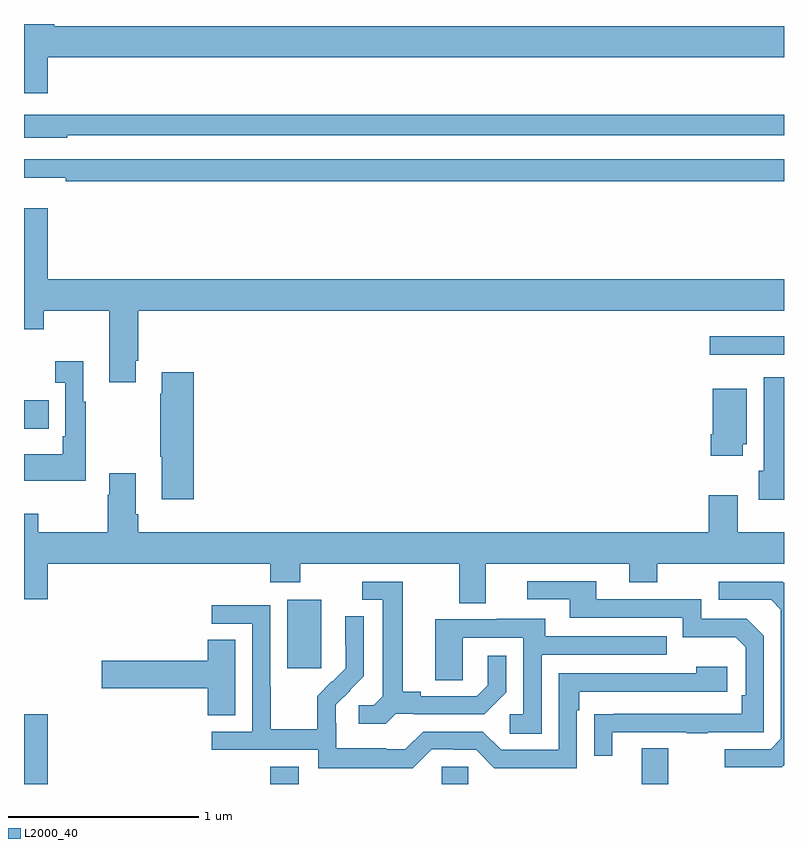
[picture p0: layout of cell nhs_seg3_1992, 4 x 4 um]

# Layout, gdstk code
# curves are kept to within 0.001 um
import gdstk
lib = gdstk.Library(unit=1e-6, precision=1e-09)
def R(c, l, rs):  # rectangles x0, y0, x1, y1
    for r in rs: c.add(gdstk.rectangle(r[:2], r[2:], *l))
def P(c, l, *ps):  # polygons
    for p in ps: c.add(gdstk.Polygon(p, *l))
L2000_40 = (2000, 40)

nhs_seg3_1992 = lib.new_cell('nhs_seg3_1992')
R(nhs_seg3_1992, L2000_40, [(213,722.4,213.124,722.767), (214.295,722.4,214.447,722.491), (215.199,722.4,215.337,722.49), (216.251,722.4,216.391,722.587), (214.385,723.009,214.564,723.37), (213,724.271,213.131,724.419), (216.609,724.659,217,724.756)])
P(nhs_seg3_1992, L2000_40, [(213.124,726.224),(217,726.224),(217,726.388),(213.158,726.388),(213.158,726.4),(213,726.4),(213,726.036),(213.124,726.036)],
  [(213.228,725.814),(217,725.814),(217,725.923),(213,725.923),(213,725.801),(213.228,725.801)],
  [(217,725.688),(213,725.688),(213,725.591),(213.22,725.591),(213.22,725.572),(217,725.572)],
  [(213.589,724.627),(213.602,724.627),(213.602,724.892),(217,724.892),(217,725.056),(213.124,725.056),(213.124,725.431),(213,725.431),(213,724.793),(213.105,724.793),(213.105,724.892),(213.449,724.892),(213.449,724.515),(213.589,724.515)],
  [(213.325,724.411),(213.313,724.411),(213.313,724.624),(213.165,724.624),(213.165,724.511),(213.216,724.511),(213.216,724.231),(213.204,724.231),(213.204,724.135),(213,724.135),(213,723.995),(213.325,723.995)],
  [(213.893,724.567),(213.725,724.567),(213.725,724.454),(213.718,724.454),(213.718,724.123),(213.725,724.123),(213.725,723.9),(213.893,723.9)],
  [(217,724.54),(216.893,724.54),(216.893,724.05),(216.866,724.05),(216.866,723.896),(217,723.896)],
  [(216.784,724.188),(216.805,724.188),(216.805,724.48),(216.626,724.48),(216.626,724.24),(216.614,724.24),(216.614,724.128),(216.784,724.128)],
  [(215.431,723.56),(216.185,723.56),(216.185,723.461),(216.333,723.461),(216.333,723.56),(217,723.56),(217,723.724),(216.757,723.724),(216.757,723.919),(216.605,723.919),(216.605,723.724),(213.602,723.724),(213.602,723.82),(213.589,723.82),(213.589,724.036),(213.449,724.036),(213.449,723.923),(213.442,723.923),(213.442,723.724),(213.075,723.724),(213.075,723.823),(213,723.823),(213,723.372),(213.124,723.372),(213.124,723.56),(214.295,723.56),(214.295,723.461),(214.455,723.461),(214.455,723.56),(215.291,723.56),(215.291,723.352),(215.431,723.352)],
  [(216.097,722.673),(216.487,722.673),(216.487,722.668),(216.599,722.668),(216.599,722.673),(216.894,722.673),(216.894,723.18),(216.804,723.27),(216.564,723.27),(216.564,723.372),(216.013,723.372),(216.013,723.468),(215.649,723.468),(215.649,723.372),(215.873,723.372),(215.873,723.276),(216.468,723.276),(216.468,723.173),(216.745,723.173),(216.798,723.12),(216.798,722.866),(216.778,722.866),(216.778,722.769),(216.001,722.768),(216.001,722.55),(216.097,722.55)],
  [(217,722.5),(217,723.458),(216.993,723.465),(216.657,723.465),(216.657,723.369),(216.933,723.369),(216.984,723.318),(216.984,722.637),(216.93,722.583),(216.687,722.583),(216.687,722.487),(216.987,722.487)],
  [(214.956,722.769),(215.05,722.769),(215.05,722.766),(215.422,722.766),(215.538,722.882),(215.538,723.076),(215.441,723.076),(215.441,722.919),(215.384,722.862),(215.089,722.862),(215.089,722.885),(214.993,722.885),(214.993,723.465),(214.779,723.465),(214.779,723.369),(214.889,723.369),(214.889,722.861),(214.842,722.814),(214.761,722.814),(214.761,722.717),(214.904,722.717)],
  [(215.145,722.583),(215.261,722.583),(215.261,722.58),(215.379,722.58),(215.475,722.484),(215.91,722.484),(215.91,722.789),(215.923,722.789),(215.923,722.886),(216.7,722.886),(216.7,723.016),(216.539,723.016),(216.539,722.982),(215.814,722.982),(215.814,722.58),(215.511,722.58),(215.415,722.676),(215.1,722.676),(215.007,722.583),(214.907,722.583),(214.907,722.587),(214.644,722.587),(214.644,722.721),(214.642,722.721),(214.642,722.818),(214.788,722.966),(214.788,723.284),(214.692,723.284),(214.692,723.13),(214.694,723.13),(214.694,723.008),(214.623,722.937),(214.62,722.94),(214.543,722.863),(214.543,722.689),(214.299,722.689),(214.299,722.912),(214.296,722.912),(214.296,723.342),(213.987,723.342),(213.987,723.243),(214.2,723.243),(214.2,722.676),(213.987,722.676),(213.987,722.58),(214.548,722.58),(214.548,722.483),(215.045,722.483)],
  [(215.724,723.081),(216.383,723.081),(216.383,723.177),(215.743,723.177),(215.743,723.271),(215.489,723.271),(215.489,723.267),(215.165,723.267),(215.165,722.947),(215.31,722.947),(215.31,723.171),(215.628,723.171),(215.628,722.766),(215.556,722.766),(215.556,722.665),(215.724,722.665)],
  [(214.111,723.158),(213.968,723.158),(213.968,723.05),(213.408,723.05),(213.408,722.903),(213.968,722.903),(213.968,722.761),(214.111,722.761)])

lib.write_gds('nhs_seg3_1992.gds')
